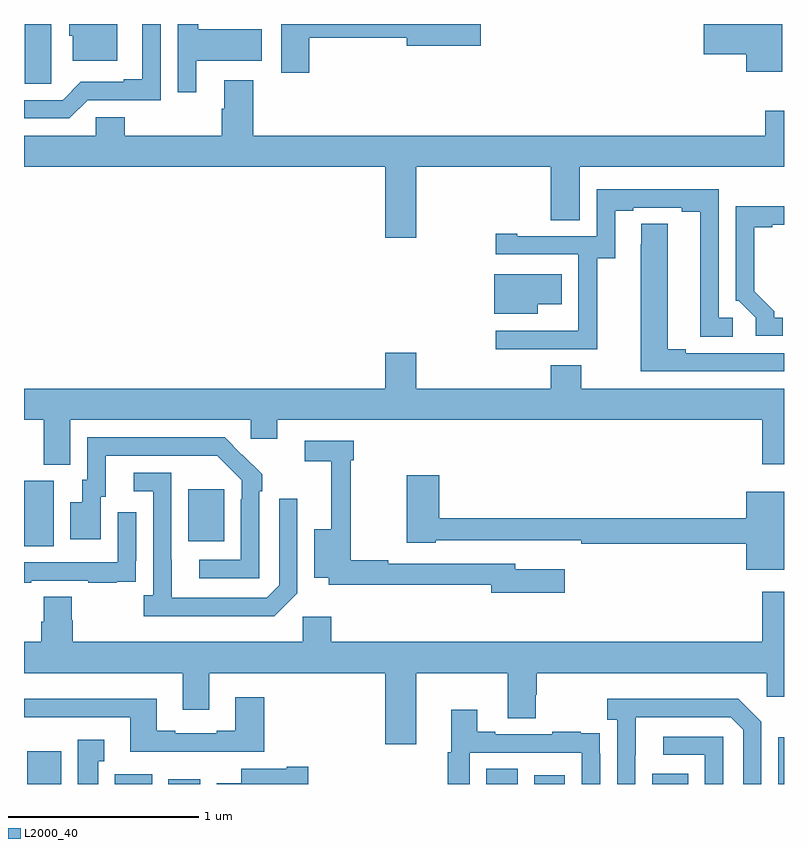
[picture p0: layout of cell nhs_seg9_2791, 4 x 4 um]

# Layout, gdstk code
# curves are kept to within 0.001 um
import gdstk
lib = gdstk.Library(unit=1e-6, precision=1e-09)
def R(c, l, rs):  # rectangles x0, y0, x1, y1
    for r in rs: c.add(gdstk.rectangle(r[:2], r[2:], *l))
def P(c, l, *ps):  # polygons
    for p in ps: c.add(gdstk.Polygon(p, *l))
L2000_40 = (2000, 40)

nhs_seg9_2791 = lib.new_cell('nhs_seg9_2791')
R(nhs_seg9_2791, L2000_40, [(271.016,1198.5,271.195,1198.672), (271.478,1198.5,271.675,1198.552), (271.76,1198.5,271.927,1198.525), (273.434,1198.5,273.598,1198.58), (273.686,1198.5,273.847,1198.546), (274.307,1198.5,274.495,1198.555), (274.97,1198.5,275,1198.747), (271,1199.752,271.156,1200.096), (271.865,1199.777,272.053,1200.052)])
P(nhs_seg9_2791, L2000_40, [(271.143,1202.296),(271.144,1202.296),(271.144,1202.5),(271.004,1202.5),(271.004,1202.185),(271.143,1202.185)],
  [(272.501,1202.428),(273.014,1202.428),(273.014,1202.386),(273.403,1202.386),(273.403,1202.5),(272.354,1202.5),(272.354,1202.244),(272.501,1202.244)],
  [(274.99,1202.5),(274.578,1202.5),(274.578,1202.341),(274.802,1202.341),(274.802,1202.249),(274.99,1202.249)],
  [(271.335,1202.1),(271.719,1202.1),(271.719,1202.5),(271.622,1202.5),(271.622,1202.209),(271.526,1202.209),(271.526,1202.196),(271.299,1202.196),(271.203,1202.1),(271,1202.1),(271,1202.004),(271.239,1202.004)],
  [(271.906,1202.306),(272.251,1202.306),(272.251,1202.472),(271.918,1202.472),(271.918,1202.5),(271.809,1202.5),(271.809,1202.142),(271.906,1202.142)],
  [(271.492,1202.5),(271.238,1202.5),(271.238,1202.439),(271.256,1202.439),(271.256,1202.306),(271.492,1202.306)],
  [(273.064,1201.748),(273.773,1201.748),(273.773,1201.468),(273.925,1201.468),(273.925,1201.748),(275,1201.748),(275,1202.044),(274.901,1202.044),(274.901,1201.912),(272.207,1201.912),(272.207,1202.203),(272.054,1202.203),(272.054,1202.054),(272.042,1202.054),(272.042,1201.912),(271.529,1201.912),(271.529,1202.01),(271.377,1202.01),(271.377,1201.912),(271,1201.912),(271,1201.748),(272.9,1201.748),(272.9,1201.374),(273.064,1201.374)],
  [(274.017,1201.267),(274.111,1201.267),(274.111,1201.518),(274.207,1201.518),(274.207,1201.533),(274.463,1201.533),(274.463,1201.513),(274.559,1201.513),(274.559,1200.853),(274.729,1200.853),(274.729,1200.954),(274.656,1200.954),(274.656,1201.629),(274.014,1201.629),(274.014,1201.383),(273.595,1201.383),(273.595,1201.396),(273.483,1201.396),(273.483,1201.287),(273.918,1201.287),(273.918,1200.886),(273.917,1200.886),(273.917,1200.885),(273.483,1200.885),(273.483,1200.789),(274.017,1200.789)],
  [(274.993,1200.954),(274.948,1200.954),(274.948,1200.989),(274.843,1201.094),(274.843,1201.431),(274.939,1201.431),(274.939,1201.443),(275,1201.443),(275,1201.541),(274.746,1201.541),(274.746,1201.044),(274.761,1201.044),(274.851,1200.954),(274.851,1200.858),(274.993,1200.858)],
  [(275,1200.768),(274.483,1200.768),(274.483,1200.788),(274.387,1200.788),(274.387,1201.448),(274.248,1201.448),(274.248,1201.34),(274.247,1201.34),(274.247,1200.672),(275,1200.672)],
  [(273.703,1201.025),(273.829,1201.025),(273.829,1201.183),(273.476,1201.183),(273.476,1200.974),(273.703,1200.974)],
  [(274.885,1200.183),(275,1200.183),(275,1200.58),(273.933,1200.58),(273.933,1200.704),(273.773,1200.704),(273.773,1200.58),(273.064,1200.58),(273.064,1200.769),(272.9,1200.769),(272.9,1200.58),(271,1200.58),(271,1200.416),(271.103,1200.416),(271.103,1200.181),(271.243,1200.181),(271.243,1200.416),(272.193,1200.416),(272.193,1200.318),(272.332,1200.318),(272.332,1200.416),(274.885,1200.416)],
  [(272.238,1200.041),(272.253,1200.041),(272.253,1200.129),(272.056,1200.324),(271.332,1200.324),(271.332,1200.102),(271.307,1200.102),(271.307,1199.983),(271.244,1199.983),(271.244,1199.787),(271.405,1199.787),(271.405,1200.012),(271.429,1200.012),(271.429,1200.228),(272.017,1200.228),(272.145,1200.099),(272.145,1199.999),(272.142,1199.999),(272.142,1199.679),(271.923,1199.679),(271.923,1199.583),(272.238,1199.583)],
  [(273.847,1199.629),(273.586,1199.629),(273.586,1199.658),(272.918,1199.658),(272.918,1199.678),(272.72,1199.678),(272.72,1200.203),(272.735,1200.203),(272.735,1200.306),(272.478,1200.306),(272.478,1200.198),(272.618,1200.198),(272.618,1199.842),(272.528,1199.842),(272.528,1199.585),(272.604,1199.585),(272.604,1199.55),(273.458,1199.55),(273.458,1199.507),(273.847,1199.507)],
  [(272.439,1199.505),(272.439,1200.001),(272.343,1200.001),(272.343,1199.547),(272.277,1199.481),(271.777,1199.481),(271.776,1200.138),(271.578,1200.138),(271.578,1200.042),(271.68,1200.042),(271.68,1199.494),(271.629,1199.494),(271.629,1199.384),(272.318,1199.384)],
  [(275,1200.037),(274.802,1200.037),(274.802,1199.9),(273.185,1199.9),(273.185,1200.124),(273.014,1200.124),(273.014,1199.771),(273.168,1199.771),(273.168,1199.784),(273.682,1199.784),(273.682,1199.783),(273.934,1199.783),(273.934,1199.764),(274.802,1199.764),(274.802,1199.627),(275,1199.627)],
  [(271.039,1199.571),(271.339,1199.571),(271.339,1199.559),(271.487,1199.559),(271.487,1199.565),(271.589,1199.565),(271.589,1199.674),(271.59,1199.674),(271.59,1199.929),(271.494,1199.929),(271.494,1199.667),(271,1199.667),(271,1199.559),(271.039,1199.559)],
  [(273.064,1199.084),(273.545,1199.084),(273.545,1198.846),(273.693,1198.846),(273.693,1198.971),(273.698,1198.971),(273.698,1199.084),(274.908,1199.084),(274.908,1198.958),(275,1198.958),(275,1199.512),(274.885,1199.512),(274.885,1199.248),(272.618,1199.248),(272.618,1199.38),(272.466,1199.38),(272.466,1199.248),(271.256,1199.248),(271.256,1199.361),(271.251,1199.361),(271.251,1199.486),(271.103,1199.486),(271.103,1199.354),(271.091,1199.354),(271.091,1199.248),(271,1199.248),(271,1199.084),(271.835,1199.084),(271.835,1198.89),(271.975,1198.89),(271.975,1199.084),(272.9,1199.084),(272.9,1198.71),(273.064,1198.71)],
  [(272.264,1198.957),(272.111,1198.957),(272.111,1198.78),(272.015,1198.78),(272.015,1198.767),(271.795,1198.767),(271.795,1198.78),(271.699,1198.78),(271.699,1198.948),(271,1198.948),(271,1198.851),(271.559,1198.851),(271.559,1198.67),(272.264,1198.67)],
  [(274.218,1198.651),(274.219,1198.851),(274.719,1198.851),(274.785,1198.785),(274.785,1198.5),(274.881,1198.5),(274.881,1198.827),(274.76,1198.948),(274.071,1198.948),(274.071,1198.838),(274.122,1198.838),(274.122,1198.5),(274.218,1198.5)],
  [(273.345,1198.665),(273.936,1198.665),(273.936,1198.5),(274.032,1198.5),(274.032,1198.658),(274.031,1198.658),(274.031,1198.767),(273.929,1198.767),(273.929,1198.774),(273.781,1198.774),(273.781,1198.761),(273.481,1198.761),(273.481,1198.774),(273.385,1198.774),(273.385,1198.891),(273.248,1198.891),(273.248,1198.668),(273.229,1198.668),(273.229,1198.5),(273.345,1198.5)],
  [(274.68,1198.749),(274.365,1198.749),(274.365,1198.653),(274.584,1198.653),(274.584,1198.5),(274.68,1198.5)],
  [(271.39,1198.619),(271.423,1198.619),(271.423,1198.732),(271.283,1198.732),(271.283,1198.5),(271.39,1198.5)],
  [(272.497,1198.592),(272.384,1198.592),(272.384,1198.579),(272.144,1198.579),(272.144,1198.504),(272.015,1198.504),(272.015,1198.5),(272.497,1198.5)])

lib.write_gds('nhs_seg9_2791.gds')
